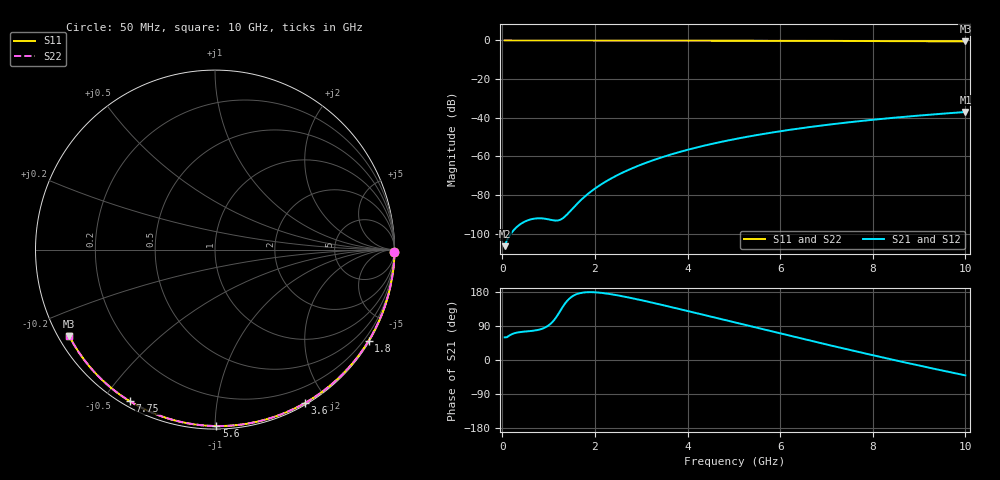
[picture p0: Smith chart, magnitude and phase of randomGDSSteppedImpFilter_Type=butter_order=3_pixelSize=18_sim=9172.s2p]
! freq	dB(S11)	phase(S11)	dB(S12)	phase(S12)
!  dB(S21)	phase(S21)	dB(S22)	phase(S22)
!S-par simulation data
#  GHz  S  DB  R 50
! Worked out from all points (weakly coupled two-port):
!   200 points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, 50 MHz to 10 GHz, reference 50 ohm
!   highest |S21| = -37.04 dB at 10 GHz (marker M1); lowest = -106.5 dB at 50 MHz (marker M2)
!   lowest |S11| = -0.5 dB at 10 GHz (marker M3), VSWR 34.85, Z = 1.54 - j13.7 ohm
!   |S11| at or under -10 dB: nowhere
!   |S22| runs from -0.5 to 0.0 dB; largest |S21 - S12| = 0
!   S11 on the Smith chart (normalised r, x): 50 MHz: open; 1.8 GHz: 0.03, -3.65; 3.6 GHz: 0.02, -1.74; 5.6 GHz: 0.02, -1.01; 7.75 GHz: 0.02, -0.59; 10 GHz: 0.03, -0.27
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0.05  -0.00 -0.9  -106.48 59.7  -106.48 59.7  -0.00 -0.9
0.45  -0.01 -7.8  -94.21 74.6  -94.21 74.6  -0.01 -7.8
0.9  -0.02 -15.5  -92.19 84.3  -92.19 84.3  -0.02 -15.5
1.3  -0.03 -22.2  -92.16 139.2  -92.16 139.2  -0.03 -22.3
1.75  -0.04 -29.8  -81.46 178.1  -81.46 178.1  -0.04 -29.8
1.8  -0.04 -30.6  -80.41 178.7  -80.41 178.7  -0.04 -30.6
1.85  -0.04 -31.5  -79.42 179.0  -79.42 179.0  -0.04 -31.5
2  -0.04 -33.9  -76.69 178.7  -76.69 178.7  -0.04 -34.0
2.15  -0.05 -36.4  -74.28 177.0  -74.28 177.0  -0.05 -36.4
2.5  -0.05 -42.2  -69.55 170.4  -69.55 170.4  -0.05 -42.2
2.9  -0.06 -48.6  -65.22 160.5  -65.22 160.5  -0.06 -48.6
3.4  -0.07 -56.6  -60.84 146.8  -60.84 146.8  -0.07 -56.6
3.6  -0.08 -59.7  -59.32 141.0  -59.32 141.0  -0.08 -59.7
4.3  -0.10 -70.5  -54.80 120.5  -54.80 120.5  -0.10 -70.5
5.05  -0.12 -81.6  -50.92 98.2  -50.92 98.2  -0.12 -81.6
5.6  -0.15 -89.6  -48.54 81.9  -48.54 81.9  -0.15 -89.6
6.15  -0.17 -97.4  -46.46 65.7  -46.46 65.7  -0.17 -97.4
6.7  -0.20 -105.0  -44.63 49.6  -44.63 49.6  -0.20 -105.0
7.75  -0.27 -119.2  -41.67 19.6  -41.67 19.6  -0.27 -119.3
8.35  -0.32 -127.2  -40.25 3.0  -40.25 3.0  -0.32 -127.3
9.2  -0.41 -138.5  -38.49 -19.9  -38.49 -19.9  -0.41 -138.6
10  -0.50 -149.3  -37.04 -40.6  -37.04 -40.6  -0.50 -149.4
